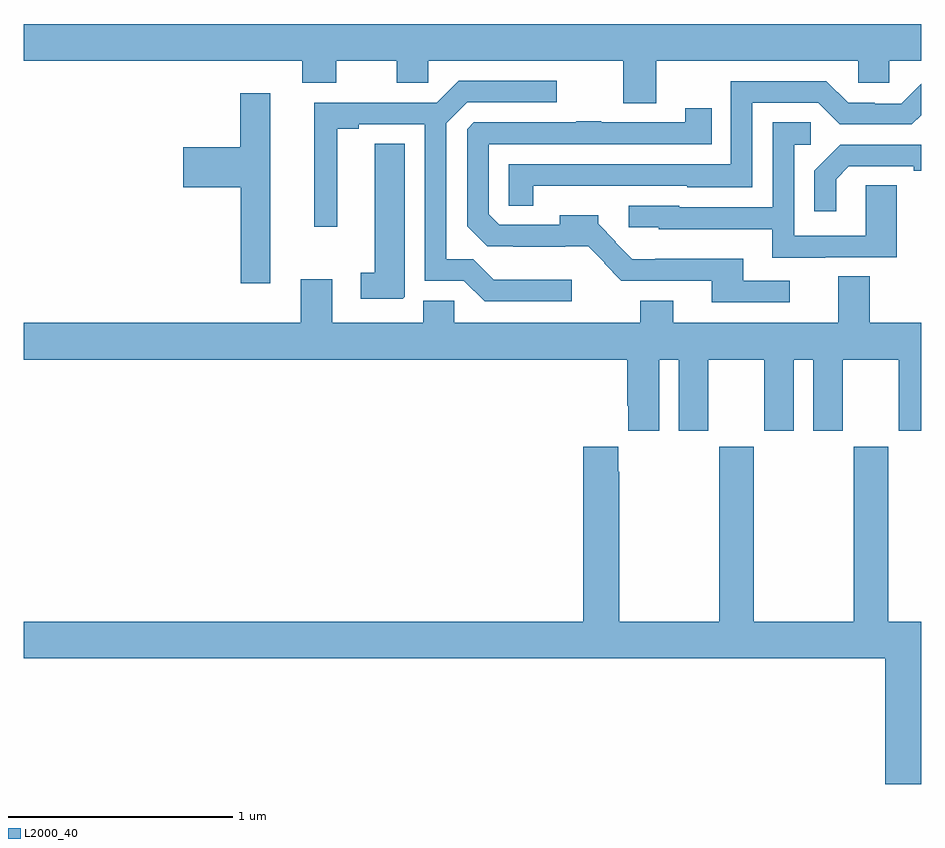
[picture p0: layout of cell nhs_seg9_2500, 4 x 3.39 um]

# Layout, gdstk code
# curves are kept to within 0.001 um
import gdstk
lib = gdstk.Library(unit=1e-6, precision=1e-09)
def P(c, l, *ps):  # polygons
    for p in ps: c.add(gdstk.Polygon(p, *l))
L2000_40 = (2000, 40)

nhs_seg9_2500 = lib.new_cell('nhs_seg9_2500')
P(nhs_seg9_2500, L2000_40, [(255.819,1225.724),(256.719,1225.724),(256.719,1225.626),(256.857,1225.626),(256.857,1225.724),(257,1225.724),(257,1225.888),(253,1225.888),(253,1225.724),(254.24,1225.724),(254.24,1225.625),(254.392,1225.625),(254.392,1225.724),(254.663,1225.724),(254.663,1225.626),(254.802,1225.626),(254.802,1225.724),(255.671,1225.724),(255.671,1225.534),(255.819,1225.534)],
  [(255.442,1224.748),(255.095,1224.748),(255.004,1224.839),(254.883,1224.839),(254.883,1225.446),(254.976,1225.539),(255.376,1225.539),(255.376,1225.635),(254.939,1225.635),(254.84,1225.536),(254.294,1225.536),(254.294,1224.984),(254.398,1224.984),(254.398,1225.42),(254.494,1225.42),(254.494,1225.44),(254.787,1225.44),(254.787,1224.744),(254.961,1224.744),(255.054,1224.651),(255.442,1224.651)],
  [(255.271,1225.166),(255.957,1225.167),(255.957,1225.16),(256.248,1225.16),(256.248,1225.536),(256.542,1225.536),(256.638,1225.44),(256.959,1225.44),(257,1225.481),(257,1225.622),(256.911,1225.533),(256.794,1225.533),(256.794,1225.536),(256.674,1225.536),(256.578,1225.632),(256.152,1225.632),(256.152,1225.263),(255.162,1225.263),(255.162,1225.078),(255.271,1225.078)],
  [(254.098,1225.579),(253.964,1225.579),(253.964,1225.338),(253.71,1225.338),(253.71,1225.16),(253.967,1225.16),(253.967,1224.732),(254.098,1224.732)],
  [(256.414,1224.744),(256.207,1224.744),(256.207,1224.841),(255.814,1224.841),(255.814,1224.839),(255.713,1224.839),(255.636,1224.915),(255.639,1224.918),(255.56,1224.997),(255.56,1225.036),(255.389,1225.036),(255.389,1224.993),(255.12,1224.993),(255.072,1225.041),(255.072,1225.353),(256.067,1225.353),(256.067,1225.513),(255.949,1225.513),(255.949,1225.449),(255.575,1225.449),(255.575,1225.454),(255.463,1225.454),(255.463,1225.449),(255.006,1225.449),(254.976,1225.419),(254.976,1224.987),(255.065,1224.898),(255.181,1224.898),(255.181,1224.896),(255.515,1224.897),(255.589,1224.823),(255.587,1224.821),(255.663,1224.744),(256.067,1224.744),(256.067,1224.648),(256.414,1224.648)],
  [(256.573,1224.849),(256.891,1224.849),(256.891,1225.169),(256.752,1225.169),(256.752,1224.945),(256.434,1224.945),(256.434,1225.35),(256.507,1225.35),(256.507,1225.451),(256.338,1225.451),(256.338,1225.071),(255.921,1225.071),(255.921,1225.077),(255.696,1225.077),(255.696,1224.981),(255.831,1224.981),(255.831,1224.974),(256.337,1224.974),(256.337,1224.845),(256.573,1224.845)],
  [(254.698,1224.673),(254.698,1225.355),(254.564,1225.355),(254.564,1224.779),(254.502,1224.779),(254.502,1224.663),(254.688,1224.663)],
  [(256.621,1225.197),(256.678,1225.254),(256.967,1225.254),(256.967,1225.234),(257,1225.234),(257,1225.35),(256.64,1225.35),(256.524,1225.234),(256.524,1225.053),(256.621,1225.053)],
  [(255.895,1224.655),(255.748,1224.655),(255.748,1224.556),(254.919,1224.556),(254.919,1224.654),(254.78,1224.654),(254.78,1224.556),(254.374,1224.556),(254.374,1224.751),(254.234,1224.751),(254.234,1224.556),(253,1224.556),(253,1224.392),(255.689,1224.392),(255.689,1224.187),(255.695,1224.187),(255.695,1224.075),(255.832,1224.075),(255.832,1224.392),(255.92,1224.392),(255.92,1224.075),(256.051,1224.075),(256.051,1224.392),(256.301,1224.392),(256.301,1224.075),(256.432,1224.075),(256.432,1224.392),(256.52,1224.392),(256.52,1224.075),(256.651,1224.075),(256.651,1224.392),(256.901,1224.392),(256.901,1224.075),(257,1224.075),(257,1224.556),(256.771,1224.556),(256.771,1224.764),(256.631,1224.764),(256.631,1224.556),(255.895,1224.556)],
  [(257,1223.224),(256.854,1223.224),(256.854,1224.004),(256.699,1224.004),(256.699,1223.224),(256.254,1223.224),(256.254,1224.004),(256.099,1224.004),(256.099,1223.224),(255.654,1223.224),(255.654,1223.891),(255.649,1223.891),(255.649,1224.004),(255.494,1224.004),(255.494,1223.224),(253,1223.224),(253,1223.06),(256.841,1223.06),(256.841,1222.5),(257,1222.5)])

lib.write_gds('nhs_seg9_2500.gds')
